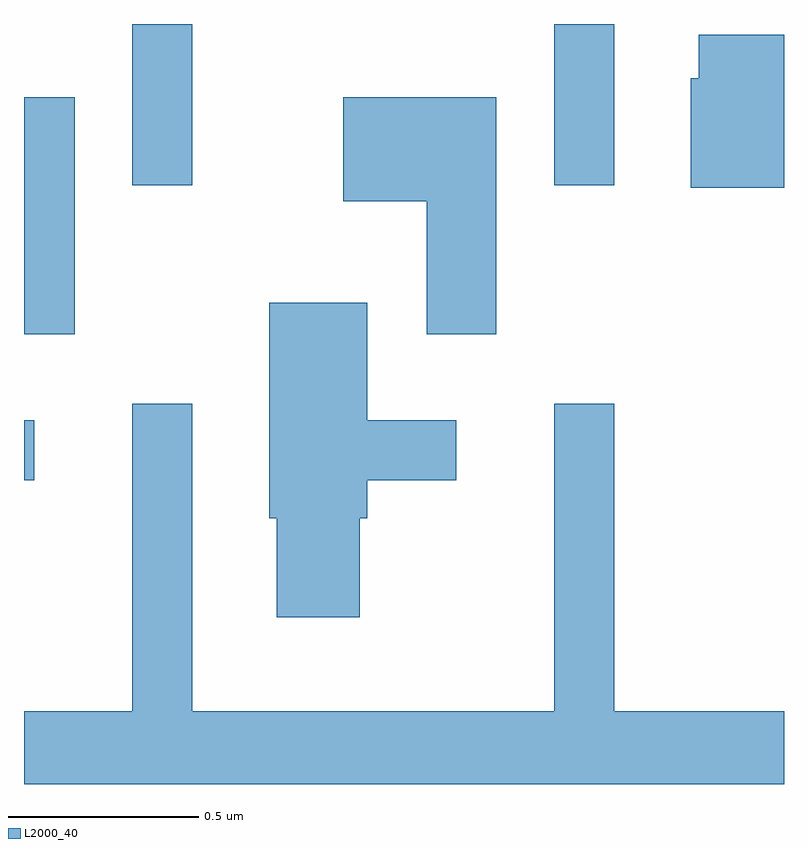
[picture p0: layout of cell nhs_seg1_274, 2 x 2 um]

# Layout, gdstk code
import gdstk
lib = gdstk.Library(unit=1e-6, precision=1e-09)
def R(c, l, rs):  # rectangles x0, y0, x1, y1
    for r in rs: c.add(gdstk.rectangle(r[:2], r[2:], *l))
def P(c, l, *ps):  # polygons
    for p in ps: c.add(gdstk.Polygon(p, *l))
L2000_40 = (2000, 40)

nhs_seg1_274 = lib.new_cell('nhs_seg1_274')
R(nhs_seg1_274, L2000_40, [(187.611,840.511,187.638,840.669), (187.611,840.896,187.744,841.519), (187.896,841.288,188.054,841.712), (189.006,841.288,189.164,841.712)])
P(nhs_seg1_274, L2000_40, [(189.611,841.684),(189.386,841.684),(189.386,841.569),(189.366,841.569),(189.366,841.281),(189.611,841.281)],
  [(188.854,841.519),(188.451,841.519),(188.451,841.246),(188.671,841.246),(188.671,840.896),(188.854,840.896)],
  [(188.494,840.411),(188.514,840.411),(188.514,840.511),(188.748,840.511),(188.748,840.669),(188.514,840.669),(188.514,840.979),(188.256,840.979),(188.256,840.411),(188.276,840.411),(188.276,840.151),(188.494,840.151)],
  [(189.611,839.904),(189.164,839.904),(189.164,840.713),(189.006,840.713),(189.006,839.904),(188.054,839.904),(188.054,840.713),(187.896,840.713),(187.896,839.904),(187.611,839.904),(187.611,839.712),(189.611,839.712)])

lib.write_gds('nhs_seg1_274.gds')
